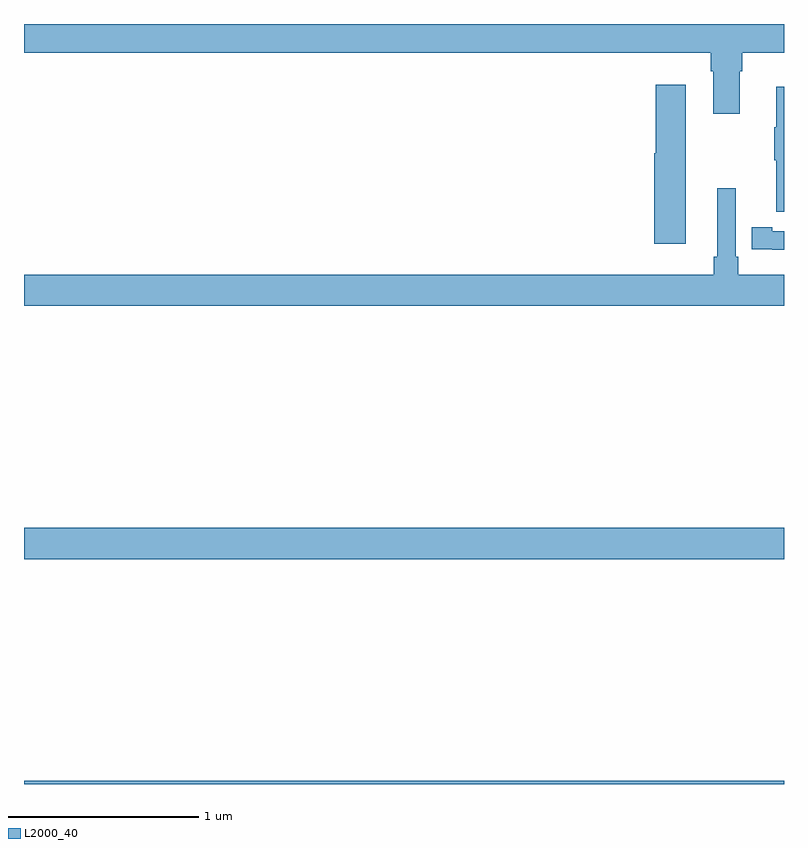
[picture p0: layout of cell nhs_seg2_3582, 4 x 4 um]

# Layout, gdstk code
import gdstk
lib = gdstk.Library(unit=1e-6, precision=1e-09)
def R(c, l, rs):  # rectangles x0, y0, x1, y1
    for r in rs: c.add(gdstk.rectangle(r[:2], r[2:], *l))
def P(c, l, *ps):  # polygons
    for p in ps: c.add(gdstk.Polygon(p, *l))
L2000_40 = (2000, 40)

nhs_seg2_3582 = lib.new_cell('nhs_seg2_3582')
R(nhs_seg2_3582, L2000_40, [(299,631.8,303,631.816), (299,632.984,303,633.148)])
P(nhs_seg2_3582, L2000_40, [(302.767,635.552),(302.78,635.552),(302.78,635.648),(303,635.648),(303,635.8),(299,635.8),(299,635.648),(302.615,635.648),(302.615,635.552),(302.627,635.552),(302.627,635.328),(302.767,635.328)],
  [(302.482,635.479),(302.324,635.479),(302.324,635.121),(302.318,635.121),(302.318,634.644),(302.482,634.644)],
  [(303,635.47),(302.96,635.47),(302.96,635.257),(302.949,635.257),(302.949,635.083),(302.96,635.083),(302.96,634.812),(303,634.812)],
  [(303,634.48),(302.759,634.48),(302.759,634.576),(302.745,634.576),(302.745,634.936),(302.648,634.936),(302.648,634.576),(302.629,634.576),(302.629,634.48),(299,634.48),(299,634.316),(303,634.316)],
  [(303,634.71),(302.938,634.71),(302.938,634.73),(302.83,634.73),(302.83,634.614),(302.938,634.614),(302.938,634.613),(303,634.613)])

lib.write_gds('nhs_seg2_3582.gds')
